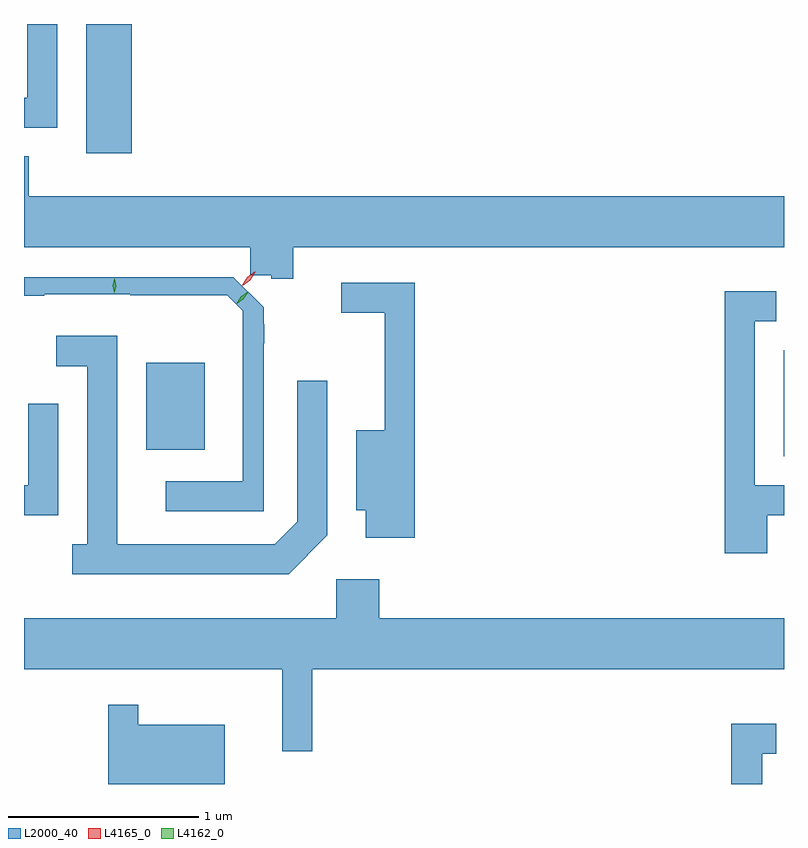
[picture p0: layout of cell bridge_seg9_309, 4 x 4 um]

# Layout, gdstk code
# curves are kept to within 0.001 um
import gdstk
lib = gdstk.Library(unit=1e-6, precision=1e-09)
def R(c, l, rs):  # rectangles x0, y0, x1, y1
    for r in rs: c.add(gdstk.rectangle(r[:2], r[2:], *l))
def P(c, l, *ps):  # polygons
    for p in ps: c.add(gdstk.Polygon(p, *l))
L2000_40 = (2000, 40)
L4162_0 = (4162, 0)
L4165_0 = (4165, 0)

bridge_seg9_309 = lib.new_cell('bridge_seg9_309')
R(bridge_seg9_309, L2000_40, [(1031.076,2012.916,1031.078,2013.474), (1027.721,2012.951,1028.029,2013.409), (1027.406,2014.511,1027.644,2015.191)])
P(bridge_seg9_309, L2000_40, [(1027.254,2015.191),(1027.096,2015.191),(1027.096,2014.804),(1027.078,2014.804),(1027.078,2014.646),(1027.254,2014.646)],
  [(1028.494,2014.016),(1031.078,2014.016),(1031.078,2014.284),(1027.104,2014.284),(1027.104,2014.494),(1027.078,2014.494),(1027.078,2014.016),(1028.27,2014.016),(1028.27,2013.868),(1028.38,2013.868),(1028.38,2013.851),(1028.494,2013.851)],
  [(1028.339,2013.512),(1028.342,2013.512),(1028.342,2013.612),(1028.339,2013.612),(1028.339,2013.7),(1028.18,2013.859),(1027.078,2013.859),(1027.078,2013.76),(1027.185,2013.76),(1027.185,2013.769),(1027.636,2013.769),(1027.636,2013.763),(1028.149,2013.763),(1028.229,2013.682),(1028.228,2012.784),(1027.823,2012.784),(1027.823,2012.626),(1028.339,2012.626)],
  [(1029.134,2013.829),(1028.748,2013.829),(1028.748,2013.671),(1028.976,2013.671),(1028.976,2013.054),(1028.826,2013.054),(1028.826,2012.631),(1028.876,2012.631),(1028.876,2012.486),(1029.134,2012.486)],
  [(1030.989,2012.606),(1031.078,2012.606),(1031.078,2012.764),(1030.924,2012.764),(1030.924,2013.626),(1031.037,2013.626),(1031.037,2013.784),(1030.766,2013.784),(1030.766,2012.406),(1030.989,2012.406)],
  [(1028.674,2012.499),(1028.674,2013.313),(1028.516,2013.313),(1028.516,2012.572),(1028.399,2012.454),(1027.569,2012.454),(1027.569,2013.549),(1027.248,2013.549),(1027.248,2013.391),(1027.411,2013.391),(1027.411,2012.454),(1027.333,2012.454),(1027.333,2012.296),(1028.472,2012.296)],
  [(1027.259,2013.193),(1027.101,2013.193),(1027.101,2012.764),(1027.078,2012.764),(1027.078,2012.606),(1027.259,2012.606)],
  [(1028.594,2011.796),(1031.078,2011.796),(1031.078,2012.064),(1028.949,2012.064),(1028.949,2012.269),(1028.721,2012.269),(1028.721,2012.064),(1027.078,2012.064),(1027.078,2011.796),(1028.436,2011.796),(1028.436,2011.363),(1028.594,2011.363)],
  [(1028.134,2011.504),(1027.679,2011.504),(1027.679,2011.608),(1027.521,2011.608),(1027.521,2011.191),(1028.134,2011.191)],
  [(1030.964,2011.351),(1031.037,2011.351),(1031.037,2011.509),(1030.801,2011.509),(1030.801,2011.191),(1030.964,2011.191)])
P(bridge_seg9_309, L4162_0, [(1028.196,2013.717),(1028.196,2013.717),(1028.219,2013.756),(1028.256,2013.781),(1028.257,2013.781),(1028.257,2013.78),(1028.233,2013.742),(1028.196,2013.717)],
  [(1027.554,2013.775),(1027.553,2013.776),(1027.544,2013.813),(1027.554,2013.849),(1027.554,2013.85),(1027.555,2013.849),(1027.564,2013.812),(1027.554,2013.776)])
P(bridge_seg9_309, L4165_0, [(1028.225,2013.813),(1028.225,2013.814),(1028.253,2013.858),(1028.295,2013.89),(1028.296,2013.89),(1028.296,2013.889),(1028.268,2013.845),(1028.225,2013.813)],
  [(1028.23,2013.814),(1028.23,2013.814),(1028.256,2013.856),(1028.295,2013.885),(1028.296,2013.885),(1028.296,2013.884),(1028.27,2013.843),(1028.23,2013.814)])

lib.write_gds('bridge_seg9_309.gds')
